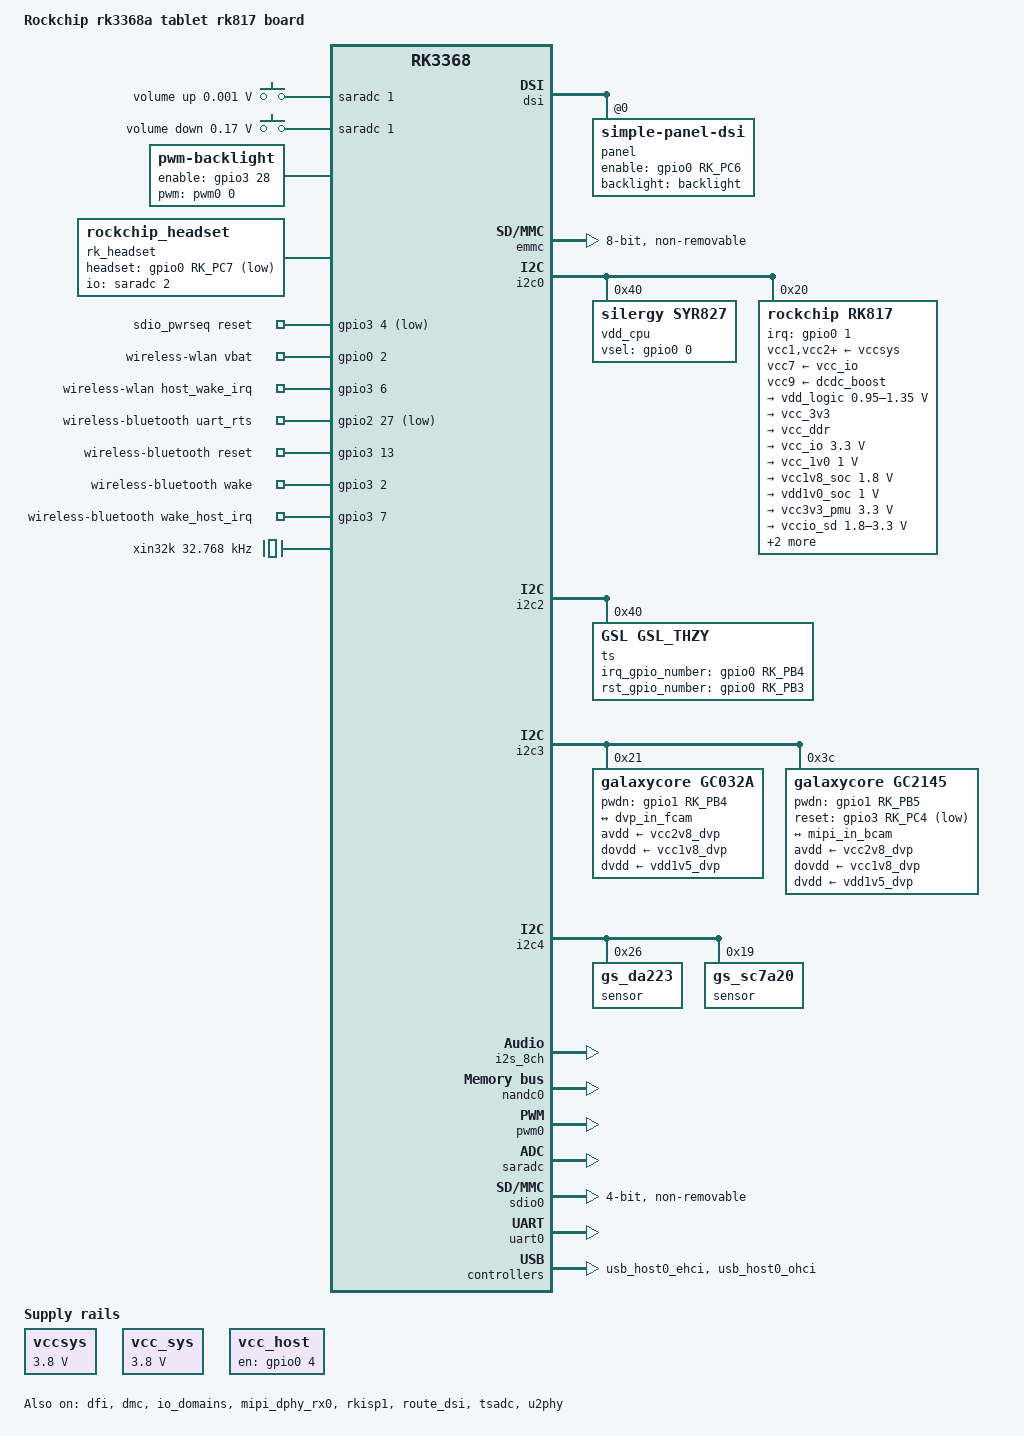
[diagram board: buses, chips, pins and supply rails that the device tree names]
// SPDX-License-Identifier: (GPL-2.0+ OR MIT)
/*
 * Copyright (c) 2020 Rockchip Electronics Co., Ltd.
 */

/dts-v1/;
#include <dt-bindings/input/input.h>
#include <dt-bindings/pwm/pwm.h>
#include <dt-bindings/sensor-dev.h>
#include "rk3368.dtsi"
#include "rk3368-android.dtsi"
/ {
	model = "Rockchip rk3368a tablet rk817 board";
	compatible = "rockchip,tablet", "rockchip,rk3368a", "rockchip,rk3368";

	adc_keys: adc-keys {
		compatible = "adc-keys";
		io-channels = <&saradc 1>;
		io-channel-names = "buttons";
		keyup-threshold-microvolt = <1024000>;
		poll-interval = <100>;

		vol-up-key {
			label = "volume up";
			linux,code = <KEY_VOLUMEUP>;
			press-threshold-microvolt = <1000>;
		};

		vol-down-key {
			label = "volume down";
			linux,code = <KEY_VOLUMEDOWN>;
			press-threshold-microvolt = <170000>;
		};
	};

	backlight: backlight {
		compatible = "pwm-backlight";
		pwms = <&pwm0 0 25000 1>;
		brightness-levels = <
			 30  30  30  31  31  31  32  32
			 32  33  33  33  34  34  34  35
			 35  35  36  36  36  37  37  37
			 38  38  38  39  39  39  40  40
			 40  41  41  41  42  42  42  43
			 43  43  44  44  44  45  46  47
			 48  49  50  51  52  53  54  55
			 56  57  58  59  60  61  62  63
			 64  65  66  67  68  69  70  71
			 72  73  74  75  76  77  78  79
			 80  81  82  83  84  85  86  87
			 88  89  90  91  92  93  94  95
			 96  97  98  99 100 101 102 103
			104 105 106 107 108 109 110 111
			112 113 114 115 116 117 118 119
			120 121 122 123 124 125 126 127
			128 129 130 131 132 133 134 135
			136 137 138 139 140 141 142 143
			144 145 146 147 148 149 150 151
			152 153 154 155 156 157 158 159
			160 161 162 163 164 165 166 167
			168 169 170 171 172 173 174 175
			176 177 178 179 180 181 182 183
			184 185 186 187 188 189 190 191
			192 193 194 195 196 197 198 199
			200 201 202 203 204 205 206 207
			208 209 210 211 212 213 214 215
			216 217 218 219 220 221 222 223
			224 225 226 227 228 229 230 231
			232 232 232 233 233 233 234 234
			234 235 235 235 236 236 236 237
			237 238 238 239 239 240 240 240>;
		default-brightness-level = <200>;
		enable-gpios = <&gpio3 28 GPIO_ACTIVE_HIGH>;
	};

	charge-animation {
		compatible = "rockchip,uboot-charge";
		rockchip,uboot-charge-on = <1>;
		rockchip,android-charge-on = <0>;
		rockchip,uboot-low-power-voltage = <3400>;
		rockchip,screen-on-voltage = <3400>;
		status = "okay";
	};

	chosen: chosen {
		bootargs = "earlycon=uart8250,mmio32,0xff690000 console=ttyFIQ0 androidboot.baseband=N/A androidboot.veritymode=enforcing androidboot.hardware=rk30board androidboot.console=ttyFIQ0 init=/init kpti=0";
	};

	rk817-sound {
		compatible = "simple-audio-card";
		simple-audio-card,format = "i2s";
		simple-audio-card,name = "rockchip-rk817-codec";
		simple-audio-card,mclk-fs = <256>;
		simple-audio-card,widgets =
			"Microphone", "Mic Jack",
			"Headphone", "Headphone Jack";
		simple-audio-card,routing =
			"Mic Jack", "MICBIAS1",
			"IN1P", "Mic Jack",
			"Headphone Jack", "HPOL",
			"Headphone Jack", "HPOR";
		simple-audio-card,cpu {
			sound-dai = <&i2s_8ch>;
		};
		simple-audio-card,codec {
			sound-dai = <&rk817_codec>;
		};
	};

	rk_headset: rk-headset {
		compatible = "rockchip_headset";
		headset_gpio = <&gpio0 RK_PC7 GPIO_ACTIVE_LOW>;
		pinctrl-names = "default";
		pinctrl-0 = <&hp_det>;
		io-channels = <&saradc 2>;
	};

	sdio_pwrseq: sdio-pwrseq {
		compatible = "mmc-pwrseq-simple";
		pinctrl-names = "default";
		pinctrl-0 = <&wifi_enable_h>;

		/*
		 * On the module itself this is one of these (depending
		 * on the actual card populated):
		 * - SDIO_RESET_L_WL_REG_ON
		 * - PDN (power down when low)
		 */
		reset-gpios = <&gpio3 4 GPIO_ACTIVE_LOW>; /* GPIO3_A4 */
	};

	vccsys: vccsys {
		compatible = "regulator-fixed";
		regulator-name = "vcc3v8_sys";
		regulator-always-on;
		regulator-boot-on;
		regulator-min-microvolt = <3800000>;
		regulator-max-microvolt = <3800000>;
	};

	wireless-wlan {
		compatible = "wlan-platdata";
		/* wifi_chip_type - wifi chip define
		* ap6210, ap6330, ap6335
		* rtl8188eu, rtl8723bs, rtl8723bu
		* esp8089
		*/
		wifi_chip_type = "rtl8723bs";
		WIFI,vbat_gpio = <&gpio0 2 GPIO_ACTIVE_HIGH>;
		WIFI,host_wake_irq = <&gpio3 6 GPIO_ACTIVE_HIGH>;
		status = "okay";
	};

	wireless-bluetooth {
		compatible = "bluetooth-platdata";
		uart_rts_gpios = <&gpio2 27 GPIO_ACTIVE_LOW>;
		pinctrl-names = "default","rts_gpio";
		pinctrl-0 = <&uart0_rts>;
		pinctrl-1 = <&uart0_rts_gpio>;

		//BT,power_gpio = <&gpio3 3 GPIO_ACTIVE_HIGH>;
		BT,reset_gpio = <&gpio3 13 GPIO_ACTIVE_HIGH>;
		BT,wake_gpio = <&gpio3 2 GPIO_ACTIVE_HIGH>;
		BT,wake_host_irq = <&gpio3 7 GPIO_ACTIVE_HIGH>;

		status = "okay";
	};

	vcc_sys: vcc-sys {
		compatible = "regulator-fixed";
		regulator-name = "vcc_sys";
		regulator-always-on;
		regulator-boot-on;
		regulator-min-microvolt = <3800000>;
		regulator-max-microvolt = <3800000>;
	};

	vcc_host: vcc-host {
		compatible = "regulator-fixed";
		enable-active-high;
		gpio = <&gpio0 4 GPIO_ACTIVE_HIGH>;
		pinctrl-names = "default";
		pinctrl-0 = <&host_vbus_drv>;
		regulator-name = "vcc_host";
		regulator-always-on;
	};

	xin32k: xin32k {
		compatible = "fixed-clock";
		clock-frequency = <32768>;
		clock-output-names = "xin32k";
		#clock-cells = <0>;
	};

};

&cif_clkout {
	/* cif_clkout */
	rockchip,pins = <1 RK_PB3 1 &pcfg_pull_none_4ma>;
};

&cpu_l0 {
	cpu-supply = <&vdd_cpu>;
};

&cpu_l1 {
	cpu-supply = <&vdd_cpu>;
};

&cpu_l2 {
	cpu-supply = <&vdd_cpu>;
};

&cpu_l3 {
	cpu-supply = <&vdd_cpu>;
};

&cpu_b0 {
	cpu-supply = <&vdd_cpu>;
};

&cpu_b1 {
	cpu-supply = <&vdd_cpu>;
};

&cpu_b2 {
	cpu-supply = <&vdd_cpu>;
};

&cpu_b3 {
	cpu-supply = <&vdd_cpu>;
};

&gpu {
	logic-supply = <&vdd_logic>;
};

&dsi {
	status = "okay";
	//rockchip,lane-rate = <500>;

	panel:panel@0 {
		compatible = "simple-panel-dsi";
		reg = <0>;
		backlight = <&backlight>;
		enable-gpios = <&gpio0 RK_PC6 GPIO_ACTIVE_HIGH>;
		prepare-delay-ms = <20>;
		reset-delay-ms = <20>;
		init-delay-ms = <20>;
		enable-delay-ms = <120>;
		disable-delay-ms = <20>;
		unprepare-delay-ms = <20>;

		width-mm = <135>;
		height-mm = <216>;

		dsi,flags = <(MIPI_DSI_MODE_VIDEO | MIPI_DSI_MODE_VIDEO_BURST |
			      MIPI_DSI_MODE_LPM | MIPI_DSI_MODE_EOT_PACKET)>;
		dsi,format = <MIPI_DSI_FMT_RGB888>;
		dsi,lanes = <4>;

		panel-init-sequence = [
			39 00 04 FF 98 81 03
			15 00 02 01 00
			15 00 02 02 00
			15 00 02 03 53
			15 00 02 04 00
			15 00 02 05 00
			15 00 02 06 08
			15 00 02 07 00
			15 00 02 08 00
			15 00 02 09 00
			15 00 02 0A 00
			15 00 02 0B 00
			15 00 02 0C 00
			15 00 02 0D 00
			15 00 02 0E 00
			15 00 02 0F 26
			15 00 02 10 26
			15 00 02 11 00
			15 00 02 12 00
			15 00 02 13 00
			15 00 02 14 00
			15 00 02 15 00
			15 00 02 16 00
			15 00 02 17 00
			15 00 02 18 00
			15 00 02 19 00
			15 00 02 1A 00
			15 00 02 1B 00
			15 00 02 1C 00
			15 00 02 1D 00
			15 00 02 1E 40
			15 00 02 1F C0
			15 00 02 20 06
			15 00 02 21 01
			15 00 02 22 07
			15 00 02 23 00
			15 00 02 24 8A
			15 00 02 25 8A
			15 00 02 26 00
			15 00 02 27 00
			15 00 02 28 33
			15 00 02 29 33
			15 00 02 2A 00
			15 00 02 2B 00
			15 00 02 2C 08
			15 00 02 2D 08
			15 00 02 2E 0B
			15 00 02 2F 0B
			15 00 02 30 00
			15 00 02 31 00
			15 00 02 32 42
			15 00 02 33 00
			15 00 02 34 00
			15 00 02 35 0A
			15 00 02 36 00
			15 00 02 37 08
			15 00 02 38 3C
			15 00 02 39 00
			15 00 02 3A 00
			15 00 02 3B 00
			15 00 02 3C 00
			15 00 02 3D 00
			15 00 02 3E 00
			15 00 02 3F 00
			15 00 02 40 00
			15 00 02 41 00
			15 00 02 42 00
			15 00 02 43 08
			15 00 02 44 00
			15 00 02 50 01
			15 00 02 51 23
			15 00 02 52 45
			15 00 02 53 67
			15 00 02 54 89
			15 00 02 55 AB
			15 00 02 56 01
			15 00 02 57 23
			15 00 02 58 45
			15 00 02 59 67
			15 00 02 5A 89
			15 00 02 5B AB
			15 00 02 5C CD
			15 00 02 5D EF
			15 00 02 5E 00
			15 00 02 5F 01
			15 00 02 60 01
			15 00 02 61 06
			15 00 02 62 06
			15 00 02 63 06
			15 00 02 64 06
			15 00 02 65 00
			15 00 02 66 00
			15 00 02 67 17
			15 00 02 68 02
			15 00 02 69 16
			15 00 02 6A 16
			15 00 02 6B 02
			15 00 02 6C 0D
			15 00 02 6D 0D
			15 00 02 6E 0C
			15 00 02 6F 0C
			15 00 02 70 0F
			15 00 02 71 0F
			15 00 02 72 0E
			15 00 02 73 0E
			15 00 02 74 02
			15 00 02 75 01
			15 00 02 76 01
			15 00 02 77 06
			15 00 02 78 06
			15 00 02 79 06
			15 00 02 7A 06
			15 00 02 7B 00
			15 00 02 7C 00
			15 00 02 7D 17
			15 00 02 7E 02
			15 00 02 7F 16
			15 00 02 80 16
			15 00 02 81 02
			15 00 02 82 0D
			15 00 02 83 0D
			15 00 02 84 0C
			15 00 02 85 0C
			15 00 02 86 0F
			15 00 02 87 0F
			15 00 02 88 0E
			15 00 02 89 0E
			15 00 02 8A 02
			39 00 04 FF 98 81 04
			15 00 02 6E 2B
			15 00 02 6F 35
			15 00 02 3A A4
			15 00 02 8D 1A
			15 00 02 87 BA
			15 00 02 B2 D1
			15 00 02 88 0B
			15 00 02 38 01
			15 00 02 39 00
			15 00 02 B5 07
			15 00 02 31 75
			15 00 02 3B 98
			39 00 04 FF 98 81 01
			15 00 02 22 0A
			15 00 02 31 00
			15 00 02 53 40
			15 00 02 55 40
			15 00 02 50 95
			15 00 02 51 90
			15 00 02 60 22
			15 00 02 62 20
			15 00 02 A0 00
			15 00 02 A1 1B
			15 00 02 A2 2A
			15 00 02 A3 14
			15 00 02 A4 17
			15 00 02 A5 2B
			15 00 02 A6 1F
			15 00 02 A7 20
			15 00 02 A8 93
			15 00 02 A9 1E
			15 00 02 AA 2A
			15 00 02 AB 7E
			15 00 02 AC 1B
			15 00 02 AD 19
			15 00 02 AE 4C
			15 00 02 AF 22
			15 00 02 B0 28
			15 00 02 B1 4B
			15 00 02 B2 59
			15 00 02 B3 23
			15 00 02 C0 00
			15 00 02 C1 1B
			15 00 02 C2 2A
			15 00 02 C3 14
			15 00 02 C4 17
			15 00 02 C5 2B
			15 00 02 C6 1F
			15 00 02 C7 20
			15 00 02 C8 93
			15 00 02 C9 1E
			15 00 02 CA 2A
			15 00 02 CB 7E
			15 00 02 CC 1B
			15 00 02 CD 19
			15 00 02 CE 4C
			15 00 02 CF 22
			15 00 02 D0 28
			15 00 02 D1 4B
			15 00 02 D2 59
			15 00 02 D3 23
			//39 00 04 FF 98 81 04
			//05 00 02 2D 80
			//05 00 02 2F 31
			39 00 04 FF 98 81 00
			05 78 01 11
			05 14 01 29
			15 00 02 35 00
		];

		panel-exit-sequence = [
			05 00 01 28
			05 00 01 10
		];

		display-timings {
			native-mode = <&timing0>;

			timing0: timing0 {
				clock-frequency = <78000000>;
				hactive = <800>;
				vactive = <1280>;
				hfront-porch = <60>;//70 //16
				hsync-len = <30>; //20 //5
				hback-porch = <60>; //59
				vfront-porch = <20>; //16 //8
				vsync-len = <8>; //5
				vback-porch = <16>; //22 //3
				hsync-active = <0>;
				vsync-active = <0>;
				de-active = <0>;
				pixelclk-active = <0>;
			};
		};
	};
};

&dfi {
	status = "okay";
};

&dmc {
	status = "okay";
	center-supply = <&vdd_logic>;
	devfreq-events = <&dfi>;
	upthreshold = <60>;
	downdifferential = <20>;
	system-status-freq = <
		/*system status		freq(KHz)*/
		SYS_STATUS_NORMAL	600000
		SYS_STATUS_REBOOT	600000
		SYS_STATUS_SUSPEND	240000
		SYS_STATUS_VIDEO_1080P	396000
		SYS_STATUS_VIDEO_4K	600000
		SYS_STATUS_PERFORMANCE	600000
		SYS_STATUS_BOOST	396000
		SYS_STATUS_DUALVIEW	600000
		SYS_STATUS_ISP		528000
	>;
	vop-bw-dmc-freq = <
	/* min_bw(MB/s) max_bw(MB/s) freq(KHz) */
		0       582      240000
		583     99999    396000
	>;
	vop-dclk-mode = <1>;
	auto-min-freq = <240000>;
	auto-freq-en = <0>;
};

&emmc {
	bus-width = <8>;
	cap-mmc-highspeed;
	mmc-hs200-1_8v;
	no-sdio;
	no-sd;
	disable-wp;
	non-removable;
	num-slots = <1>;
	status = "okay";
};

&i2c0 {
	status = "okay";

	vdd_cpu: syr827@40 {
		compatible = "silergy,syr827";
		status = "okay";
		reg = <0x40>;

		regulator-compatible = "fan53555-reg";
		regulator-name = "vdd_cpu";
		regulator-min-microvolt = <712500>;
		regulator-max-microvolt = <1500000>;
		regulator-ramp-delay = <1000>;
		fcs,suspend-voltage-selector = <1>;
		pinctrl-0 = <&vsel_gpio>;
		vsel-gpios = <&gpio0 0 GPIO_ACTIVE_HIGH>;
		regulator-always-on;
		regulator-boot-on;
		regulator-initial-state = <3>;
		regulator-state-mem {
			regulator-off-in-suspend;
		};
	};

	rk817: pmic@20 {
		compatible = "rockchip,rk817";
		reg = <0x20>;
		interrupt-parent = <&gpio0>;
		interrupts = <1 IRQ_TYPE_LEVEL_LOW>;
		pinctrl-names = "default", "pmic-sleep",
				"pmic-power-off", "pmic-reset";
		pinctrl-0 = <&pmic_int>;
		pinctrl-1 = <&soc_slppin_slp>, <&rk817_slppin_slp>;
		pinctrl-2 = <&soc_slppin_gpio>, <&rk817_slppin_pwrdn>;
		pinctrl-3 = <&soc_slppin_slp>, <&rk817_slppin_slp>;
		rockchip,system-power-controller;
		wakeup-source;
		#clock-cells = <1>;
		clock-output-names = "rk808-clkout1", "rk808-clkout2";
		//fb-inner-reg-idxs = <2>;
		/* 1: rst regs (default in codes), 0: rst the pmic */
		pmic-reset-func = <1>;

		vcc1-supply = <&vccsys>;
		vcc2-supply = <&vccsys>;
		vcc3-supply = <&vccsys>;
		vcc4-supply = <&vccsys>;
		vcc5-supply = <&vccsys>;
		vcc6-supply = <&vccsys>;
		vcc7-supply = <&vcc_io>;
		vcc8-supply = <&vccsys>;
		vcc9-supply = <&dcdc_boost>;

		pwrkey {
			status = "okay";
		};

		pinctrl_rk8xx: pinctrl_rk8xx {
			gpio-controller;
			#gpio-cells = <2>;

			rk817_ts_gpio1: rk817_ts_gpio1 {
				pins = "gpio_ts";
				function = "pin_fun1";
				/* output-low; */
				/* input-enable; */
			};

			rk817_gt_gpio2: rk817_gt_gpio2 {
				pins = "gpio_gt";
				function = "pin_fun1";
			};

			rk817_pin_ts: rk817_pin_ts {
				pins = "gpio_ts";
				function = "pin_fun0";
			};

			rk817_pin_gt: rk817_pin_gt {
				pins = "gpio_gt";
				function = "pin_fun0";
			};

			rk817_slppin_null: rk817_slppin_null {
				pins = "gpio_slp";
				function = "pin_fun0";
			};

			rk817_slppin_slp: rk817_slppin_slp {
				pins = "gpio_slp";
				function = "pin_fun1";
			};

			rk817_slppin_pwrdn: rk817_slppin_pwrdn {
				pins = "gpio_slp";
				function = "pin_fun2";
			};

			rk817_slppin_rst: rk817_slppin_rst {
				pins = "gpio_slp";
				function = "pin_fun3";
			};
		};

		regulators {
			vdd_logic: DCDC_REG1 {
				regulator-always-on;
				regulator-boot-on;
				regulator-min-microvolt = <950000>;
				regulator-max-microvolt = <1350000>;
				regulator-ramp-delay = <6001>;
				regulator-initial-mode = <0x2>;
				regulator-name = "vdd_logic";
				regulator-state-mem {
					regulator-on-in-suspend;
					regulator-suspend-microvolt = <950000>;
				};
			};

			vcc_3v3: DCDC_REG2 {
				regulator-name = "vcc_3v3";
				regulator-always-on;
				regulator-boot-on;
				regulator-state-mem {
					regulator-on-in-suspend;
				};
			};

			vcc_ddr: DCDC_REG3 {
				regulator-always-on;
				regulator-boot-on;
				regulator-initial-mode = <0x2>;
				regulator-name = "vcc_ddr";
				regulator-state-mem {
					regulator-on-in-suspend;
				};
			};

			vcc_io: DCDC_REG4 {
				regulator-always-on;
				regulator-boot-on;
				regulator-min-microvolt = <3300000>;
				regulator-max-microvolt = <3300000>;
				regulator-name = "vcc_io";
				regulator-state-mem {
					regulator-on-in-suspend;
					regulator-suspend-microvolt = <3300000>;
				};
			};

			vcc_1v0: LDO_REG1 {
				regulator-always-on;
				regulator-boot-on;
				regulator-min-microvolt = <1000000>;
				regulator-max-microvolt = <1000000>;
				regulator-name = "vcc_1v0";
				regulator-state-mem {
					regulator-on-in-suspend;
					regulator-suspend-microvolt = <1000000>;
				};
			};

			vcc1v8_soc: LDO_REG2 {
				regulator-always-on;
				regulator-boot-on;
				regulator-min-microvolt = <1800000>;
				regulator-max-microvolt = <1800000>;

				regulator-name = "vcc1v8_soc";
				regulator-state-mem {
					regulator-on-in-suspend;
					regulator-suspend-microvolt = <1800000>;
				};
			};

			vdd1v0_soc: LDO_REG3 {
				regulator-always-on;
				regulator-boot-on;
				regulator-min-microvolt = <1000000>;
				regulator-max-microvolt = <1000000>;

				regulator-name = "vcc1v0_soc";
				regulator-state-mem {
					regulator-on-in-suspend;
					regulator-suspend-microvolt = <1000000>;
				};
			};

			vcc3v3_pmu: LDO_REG4 {
				regulator-always-on;
				regulator-boot-on;
				regulator-min-microvolt = <3300000>;
				regulator-max-microvolt = <3300000>;

				regulator-name = "vcc3v3_pmu";
				regulator-state-mem {
					regulator-on-in-suspend;
					regulator-suspend-microvolt = <3300000>;

				};
			};

			vccio_sd: LDO_REG5 {
				regulator-always-on;
				regulator-boot-on;
				regulator-min-microvolt = <1800000>;
				regulator-max-microvolt = <3300000>;

				regulator-name = "vccio_sd";
				regulator-state-mem {
					regulator-on-in-suspend;
					regulator-suspend-microvolt = <3300000>;
				};
			};

			vcc_sd: LDO_REG6 {
				regulator-min-microvolt = <3300000>;
				regulator-max-microvolt = <3300000>;

				regulator-name = "vcc_sd";
				regulator-state-mem {
					regulator-on-in-suspend;
					regulator-suspend-microvolt = <3300000>;

				};
			};

			vcc2v8_dvp: LDO_REG7 {
				regulator-boot-on;
				regulator-min-microvolt = <2800000>;
				regulator-max-microvolt = <2800000>;

				regulator-name = "vcc2v8_dvp";
				regulator-state-mem {
					regulator-off-in-suspend;
					regulator-suspend-microvolt = <2800000>;
				};
			};

			vcc1v8_dvp: LDO_REG8 {
				regulator-boot-on;
				regulator-min-microvolt = <1800000>;
				regulator-max-microvolt = <1800000>;

				regulator-name = "vcc1v8_dvp";
				regulator-state-mem {
					regulator-off-in-suspend;
					regulator-suspend-microvolt = <1800000>;
				};
			};

			vdd1v5_dvp: LDO_REG9 {
				regulator-boot-on;
				regulator-min-microvolt = <1500000>;
				regulator-max-microvolt = <1500000>;

				regulator-name = "vdd1v5_dvp";
				regulator-state-mem {
					regulator-off-in-suspend;
					regulator-suspend-microvolt = <1500000>;
				};
			};

			dcdc_boost: BOOST {
				regulator-always-on;
				regulator-boot-on;
				regulator-min-microvolt = <5000000>;
				regulator-max-microvolt = <5000000>;
				regulator-name = "boost";
			};

			otg_switch: OTG_SWITCH {
				regulator-name = "otg_switch";
			};
		};

		battery {
			compatible = "rk817,battery";
			ocv_table = <3500 3548 3592 3636 3687 3740 3780
				3806 3827 3846 3864 3889 3929 3964
				3993 4015 4030 4041 4056 4076 4148>;
			design_capacity = <5000>;
			design_qmax = <5500>;
			bat_res = <100>;
			sleep_enter_current = <150>;
			sleep_exit_current = <180>;
			sleep_filter_current = <100>;
			power_off_thresd = <3400>;
			zero_algorithm_vol = <3850>;
			max_soc_offset = <60>;
			monitor_sec = <5>;
			sample_res = <10>;
			virtual_power = <0>;
		};

		charger {
			compatible = "rk817,charger";
			min_input_voltage = <4500>;
			max_input_current = <1500>;
			max_chrg_current = <2000>;
			max_chrg_voltage = <4200>;
			chrg_term_mode = <0>;
			chrg_finish_cur = <300>;
			virtual_power = <0>;
			dc_det_adc = <0>;
			extcon = <&u2phy>;
		};

		rk817_codec: codec {
			#sound-dai-cells = <0>;
			compatible = "rockchip,rk817-codec";
			clocks = <&cru SCLK_I2S_8CH_OUT>;
			clock-names = "mclk";
			pinctrl-names = "default";
			pinctrl-0 = <&i2s_8ch_mclk>;
			hp-volume = <20>;
			spk-volume = <3>;
			mic-in-differential;
			out-l2spk-r2hp;
			spk-ctl-gpios = <&gpio0 RK_PD3 GPIO_ACTIVE_HIGH>;
			status = "okay";
		};
	};
};

&i2c2 {
	status = "okay";

	ts@40 {
		status = "okay";
		compatible = "GSL,GSL_THZY";
		reg = <0x40>;
		irq_gpio_number = <&gpio0 RK_PB4 IRQ_TYPE_LEVEL_HIGH>;
		rst_gpio_number = <&gpio0 RK_PB3 GPIO_ACTIVE_HIGH>;
	};
};

&i2c3 {
	status = "okay";

	gc032a: gc032a@21 {
		status = "okay";
		compatible = "galaxycore,gc032a";
		reg = <0x21>;
		clocks = <&cru SCLK_VIP_OUT>;
		clock-names = "xvclk";

		avdd-supply = <&vcc2v8_dvp>;
		dovdd-supply = <&vcc1v8_dvp>;
		dvdd-supply = <&vdd1v5_dvp>;

		pwdn-gpios = <&gpio1 RK_PB4 GPIO_ACTIVE_HIGH>;
		rockchip,camera-module-index = <1>;
		rockchip,camera-module-facing = "front";
		rockchip,camera-module-name = "CameraKing";
		rockchip,camera-module-lens-name = "Largan";
		port {
			gc0312_out: endpoint {
				remote-endpoint = <&dvp_in_fcam>;
			};
		};
	};

	gc2145: gc2145@3c {
		status = "okay";
		compatible = "galaxycore,gc2145";
		reg = <0x3c>;
		clocks = <&cru SCLK_VIP_OUT>;
		clock-names = "xvclk";

		avdd-supply = <&vcc2v8_dvp>;
		dovdd-supply = <&vcc1v8_dvp>;
		dvdd-supply = <&vdd1v5_dvp>;

		pwdn-gpios = <&gpio1 RK_PB5 GPIO_ACTIVE_HIGH>;
		reset-gpios = <&gpio3 RK_PC4 GPIO_ACTIVE_LOW>;
		rockchip,camera-module-index = <0>;
		rockchip,camera-module-facing = "back";
		rockchip,camera-module-name = "CameraKing";
		rockchip,camera-module-lens-name = "Largan";
		port {
			gc2145_mipi_out: endpoint {
				remote-endpoint = <&mipi_in_bcam>;
				data-lanes = <1>;
			};
		};
	};

	ov8858: ov8858@36 {
		status = "disabled";
		compatible = "ovti,ov8858";
		reg = <0x36>;
		clocks = <&cru SCLK_VIP_OUT>;
		clock-names = "xvclk";

		avdd-supply = <&vcc2v8_dvp>;
		dovdd-supply = <&vcc1v8_dvp>;
		dvdd-supply = <&vdd1v5_dvp>;

		pwdn-gpios = <&gpio1 RK_PB4 GPIO_ACTIVE_HIGH>;
		reset-gpios = <&gpio0 RK_PB6 GPIO_ACTIVE_HIGH>;
		rockchip,camera-module-index = <0>;
		rockchip,camera-module-facing = "back";
		rockchip,camera-module-name = "CameraKing";
		rockchip,camera-module-lens-name = "Largan-9569A2";
		port {
			ov8858_out: endpoint {
				remote-endpoint = <&mipi_in>;
				data-lanes = <1 2>;
			};
		};
	};
};

&i2c4 {
	status = "okay";

	sensor@26 {
		compatible = "gs_da223";
		reg = <0x26>;
		type = <SENSOR_TYPE_ACCEL>;
		irq_enable = <0>;
		poll_delay_ms = <10>;
		layout = <3>;
	};

	sensor@19 {
		compatible = "gs_sc7a20";
		reg = <0x19>;
		type = <SENSOR_TYPE_ACCEL>;
		irq_enable = <0>;
		poll_delay_ms = <10>;
		layout = <1>;
	};

	mpu6500@68 {
		status = "disabled";
		compatible = "invensense,mpu6500";
		pinctrl-names = "default";
		pinctrl-0 = <&mpu6500_irq_gpio>;
		reg = <0x68>;
		irq-gpio = <&gpio3 14 IRQ_TYPE_EDGE_RISING>;
		mpu-int_config = <0x10>;
		mpu-level_shifter = <0>;
		mpu-orientation = <1 0 0 0 1 0 0 0 1>;
		orientation-x= <1>;
		orientation-y= <0>;
		orientation-z= <1>;
		support-hw-poweroff = <1>;
		mpu-debug = <1>;
	};

	sensor@4c {
		status = "disabled";
		compatible = "gs_mc3230";
		reg = <0x4c>;
		type = <SENSOR_TYPE_ACCEL>;
		irq_enable = <0>;
		poll_delay_ms = <30>;
		layout = <9>;
		reprobe_en = <1>;
		irq-gpio = <&gpio3 RK_PB6 IRQ_TYPE_LEVEL_LOW>;
	};

	sensor@18 {
		status = "gs_mc3230";
		compatible = "gs_sc7a30";
		reg = <0x18>;
		type = <SENSOR_TYPE_ACCEL>;
		irq-gpio = <&gpio3 RK_PB6 IRQ_TYPE_LEVEL_LOW>;
		irq_enable = <0>;
		poll_delay_ms = <30>;
		layout = <6>;
		reprobe_en = <1>;
	};

	sensor@10 {
		status = "gs_mc3230";
		compatible = "light_cm3218";
		pinctrl-names = "default";
		pinctrl-0 = <&cm3218_irq_gpio>;
		reg = <0x10>;
		type = <SENSOR_TYPE_LIGHT>;
		irq-gpio = <&gpio3 15 IRQ_TYPE_EDGE_FALLING>;
		irq_enable = <1>;
		poll_delay_ms = <30>;
	};
};

&i2s_8ch {
	status = "okay";
	rockchip,i2s-broken-burst-len;
	rockchip,playback-channels = <8>;
	rockchip,capture-channels = <2>;
	#sound-dai-cells = <0>;
};

&io_domains {
	status = "okay";

	dvp-supply = <&vcc1v8_dvp>;
	audio-supply = <&vcc_io>;
	gpio30-supply = <&vcc_io>;
	gpio1830-supply = <&vcc_io>;
	sdcard-supply = <&vccio_sd>;
	wifi-supply = <&vcc_3v3>;
};

&isp_dvp_d2d9 {
	rockchip,pins =
			/* cif_data4 ... cif_data9 */
			<1 RK_PA2 1 &pcfg_pull_down>,
			<1 RK_PA3 1 &pcfg_pull_down>,
			<1 RK_PA4 1 &pcfg_pull_down>,
			<1 RK_PA5 1 &pcfg_pull_down>,
			<1 RK_PA6 1 &pcfg_pull_down>,
			<1 RK_PA7 1 &pcfg_pull_down>,
			/* cif_sync, cif_href */
			<1 RK_PB0 1 &pcfg_pull_down>,
			<1 RK_PB1 1 &pcfg_pull_down>,
			/* cif_clkin */
			<1 RK_PB2 1 &pcfg_pull_down>;
};

&isp_dvp_d10d11 {
	rockchip,pins =
			/* cif_data10, cif_data11 */
			<1 RK_PB6 1 &pcfg_pull_down>,
			<1 RK_PB7 1 &pcfg_pull_down>;
};

&isp_mmu {
	status = "okay";
};

&mipi_dphy_rx0 {
	status = "okay";

	ports {
		#address-cells = <1>;
		#size-cells = <0>;

		port@0 {
			reg = <0>;
			#address-cells = <1>;
			#size-cells = <0>;
			mipi_in_bcam: endpoint@0 {
				reg = <0>;
				remote-endpoint = <&gc2145_mipi_out>;
				data-lanes = <1>;
			};

			mipi_in: endpoint@1 {
				reg = <1>;
				remote-endpoint = <&ov8858_out>;
				data-lanes = <1 2>;
			};
		};

		port@1 {
			reg = <1>;
			#address-cells = <1>;
			#size-cells = <0>;

			dphy_rx_out: endpoint@0 {
				reg = <0>;
				remote-endpoint = <&isp_mipi_in>;
			};
		};
	};
};

&nandc0 {
	status = "okay";
};

&pmu_io_domains {
	status = "okay";

	pmu-supply = <&vcc3v3_pmu>;
	vop-supply = <&vcc3v3_pmu>;
};

&pwm0 {
	status = "okay";
};

&pinctrl {

	headphone {
		hp_det: hp-det {
			rockchip,pins = <0 RK_PC7 RK_FUNC_GPIO &pcfg_pull_up>;
		};
	};

	pmic {
		pmic_int: pmic_int {
			rockchip,pins =
				<0 RK_PA1 RK_FUNC_GPIO &pcfg_pull_up>;
		};

		soc_slppin_gpio: soc_slppin_gpio {
			rockchip,pins =
				<0 RK_PA0 RK_FUNC_GPIO &pcfg_output_low>;
		};

		soc_slppin_slp: soc_slppin_slp {
			rockchip,pins =
				<0 RK_PA0 1 &pcfg_pull_none>;
		};

		soc_slppin_rst: soc_slppin_rst {
			rockchip,pins =
				<0 RK_PA0 2 &pcfg_pull_none>;
		};

		vsel_gpio: vsel-gpio {
			rockchip,pins = <0 RK_PA0 RK_FUNC_GPIO &pcfg_pull_down>;
		};
	};

	mpu6500 {
		mpu6500_irq_gpio: mpu6500-irq-gpio {
			rockchip,pins = <3 RK_PB6 RK_FUNC_GPIO &pcfg_pull_none>;
		};
	};

	cm3218 {
		cm3218_irq_gpio: cm3218-irq-gpio {
			rockchip,pins = <3 RK_PB7 RK_FUNC_GPIO &pcfg_pull_up>;
		};
	};

	dc_det {
		dc_irq_gpio: dc-irq-gpio {
			rockchip,pins = <0 RK_PC1 RK_FUNC_GPIO &pcfg_pull_up>;
		};
	};

	pcfg_pull_none_4ma: pcfg-pull-none-4ma {
		bias-disable;
		drive-strength = <4>;
	};

	pcfg_pull_none_smt: pcfg-pull-none-smt {
		bias-disable;
		input-schmitt-enable;
	};

	pcfg_output_high: pcfg-output-high {
		output-high;
	};

	pcfg_output_low: pcfg-output-low {
		output-low;
	};

	pcfg_input_high: pcfg-input-high {
		bias-pull-up;
		input-enable;
	};

	pcfg_input: pcfg-input {
		input-enable;
	};

	sdio-pwrseq {
		wifi_enable_h: wifi-enable-h {
			rockchip,pins = <3 RK_PA4 RK_FUNC_GPIO &pcfg_pull_none>;
		};
	};

	usb2 {
		host_vbus_drv: host-vbus-drv {
			rockchip,pins = <0 RK_PA4 RK_FUNC_GPIO &pcfg_pull_none>;
		};
	};

	wireless-bluetooth {
		uart0_rts_gpio: uart0-rts-gpio {
			rockchip,pins = <2 RK_PD3 RK_FUNC_GPIO &pcfg_pull_none>;
		};
	};
};

&rkisp1 {
	status = "okay";
	pinctrl-names = "default";
	pinctrl-0 = <&isp_dvp_d2d9 &isp_dvp_d10d11 &cif_clkout>;
	port {
		#address-cells = <1>;
		#size-cells = <0>;

		dvp_in_fcam: endpoint@0 {
			reg = <0>;
			remote-endpoint = <&gc0312_out>;
		};

		isp_mipi_in: endpoint@1 {
			reg = <1>;
			remote-endpoint = <&dphy_rx_out>;
		};
	};
};

&route_dsi {
	status = "okay";
};

&rockchip_suspend {
	status = "okay";
	Rockchip,sleep-debug-en = <1>;
	rockchip,sleep-mode-config = <
		(0
		| RKPM_SLP_ARMOFF
		| RKPM_SLP_PMU_PLLS_PWRDN
		| RKPM_SLP_PMU_PMUALIVE_32K
		| RKPM_SLP_SFT_PLLS_DEEP
		| RKPM_SLP_PMU_DIS_OSC
		| RKPM_SLP_SFT_PD_NBSCUS
		)
	>;
	rockchip,wakeup-config = <
		(0
		| RKPM_GPIO_WKUP_EN
		| RKPM_USB_WKUP_EN
		| RKPM_CLUSTER_L_WKUP_EN
		)
	>;
};

&saradc {
	status = "okay";
};

&sdmmc {
	clock-frequency = <37500000>;
	clock-freq-min-max = <400000 37500000>;
	no-sdio;
	no-mmc;
	cap-mmc-highspeed;
	cap-sd-highspeed;
	card-detect-delay = <200>;
	disable-wp;
	num-slots = <1>;
	vmmc-supply = <&vcc_sd>;
	pinctrl-names = "default";
	pinctrl-0 = <&sdmmc_clk &sdmmc_cmd &sdmmc_cd &sdmmc_bus4>;
	status = "disabled";
};

&sdio0 {
	max-frequency = <50000000>;
	no-sd;
	no-mmc;
	bus-width = <4>;
	disable-wp;
	cap-sd-highspeed;
	cap-sdio-irq;
	keep-power-in-suspend;
	mmc-pwrseq = <&sdio_pwrseq>;
	non-removable;
	num-slots = <1>;
	pinctrl-names = "default";
	pinctrl-0 = <&sdio0_bus4 &sdio0_cmd &sdio0_clk>;
	rockchip,default-sample-phase = <90>;
	status = "okay";
};

&tsadc {
	tsadc-supply = <&vdd_cpu>;
	status = "okay";
};

&uart0 {
	pinctrl-names = "default";
	pinctrl-0 = <&uart0_xfer &uart0_cts>;
	status = "okay";
};

&u2phy {
	status = "okay";

	u2phy_otg: otg-port {
		status = "okay";
	};

	u2phy_host: host-port {
		phy-supply = <&vcc_host>;
		status = "okay";
	};
};

&usb_host0_ehci {
	status = "okay";
};

&usb_host0_ohci {
	status = "okay";
};

